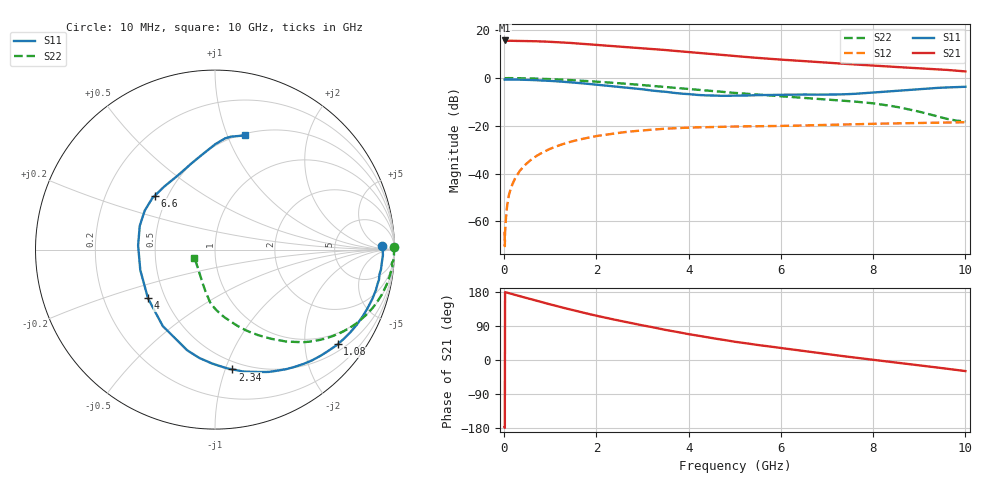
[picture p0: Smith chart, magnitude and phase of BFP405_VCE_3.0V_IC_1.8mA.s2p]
! Infineon Technologies  Discrete & RF Semiconductors
! BFP405
! VCE =  3.0 V,  IC =  1.8 mA
! Common Emitter S-Parameters:  Jan 2016
# GHz  S  MA  R  50
!  f  S11  S21  S12  S22
! GHz  MAG  ANG  MAG  ANG  MAG  ANG  MAG  ANG
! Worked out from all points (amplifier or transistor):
!   233 points, 10 MHz to 10 GHz, reference 50 ohm
!   highest |S21| = 15.8 dB at 10 MHz (marker M1)
!   |S21| within 3 dB of that: start of sweep to 2.82 GHz
!   unconditionally stable (mu >= 1): 4.563 GHz to end of sweep
!   at 200 MHz: K = 0.03, MSG = 29.6 dB, |S12| = -43.6 dB
!   at 1.74 GHz: K = 0.29, MSG = 19.8 dB, |S12| = -25.3 dB
!   at 10 GHz: K = 1.73, MAG = 5.7 dB, |S12| = -18.5 dB
!   S11 on the Smith chart (normalised r, x): 10 MHz: 25, +7; 1.08 GHz: 0.67, -2.79; 2.34 GHz: 0.43, -1.06; 4 GHz: 0.40, -0.28; 6.6 GHz: 0.43, +0.32; 10 GHz: 0.52, +1.15
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0.01  0.929 1.1  6.139 -177.4  0.0006 -14.7  1 0.8
0.015  0.9319 0.3  6.09 -179.2  0.0003 41.8  0.9968 0.5
0.02  0.9349 -0.5  6.047 178.9  0.0006 98.4  0.9937 0.1
0.06  0.9357 -2.1  6.022 178.1  0.0019 84.5  0.9971 -0.8
0.1  0.9328 -3.5  6.052 176.3  0.0034 89.0  0.9977 -1.7
0.24  0.9276 -8.2  6.05 171.8  0.008 85.6  0.9882 -4.4
0.5  0.919 -17.3  5.992 163.3  0.0166 81.1  0.9839 -8.9
0.7  0.9028 -24.3  5.9 156.7  0.0233 77.4  0.973 -12.4
1.08  0.8634 -37.6  5.709 144.1  0.0355 70.1  0.9436 -19.1
1.4  0.8204 -48.8  5.476 134.2  0.045 64.1  0.9111 -24.3
1.68  0.7781 -58.5  5.253 126.0  0.0528 58.9  0.8795 -28.7
2  0.7273 -69.7  4.986 116.9  0.0608 53.3  0.8412 -33.3
2.34  0.6746 -81.7  4.709 107.9  0.0682 47.6  0.7986 -37.9
2.8  0.6098 -98.3  4.362 96.3  0.077 40.6  0.7398 -43.8
3.4  0.524 -120.3  3.921 82.0  0.0856 31.9  0.6611 -50.9
4  0.4614 -144.1  3.522 68.2  0.0916 24.4  0.5873 -57.8
4.5  0.4316 -164.7  3.198 57.8  0.0947 18.9  0.5341 -63.2
5.1  0.4289 173.9  2.842 46.6  0.0969 13.5  0.481 -69.1
6.6  0.4502 138.2  2.233 22.1  0.102 4.7  0.3808 -82.0
6.8  0.4491 133.4  2.166 18.9  0.103 3.7  0.3688 -83.8
8.4  0.5323 98.0  1.729 -5.3  0.1119 -5.1  0.2595 -99.8
10  0.6568 75.5  1.378 -29.2  0.1187 -13.1  0.1234 -157.9
